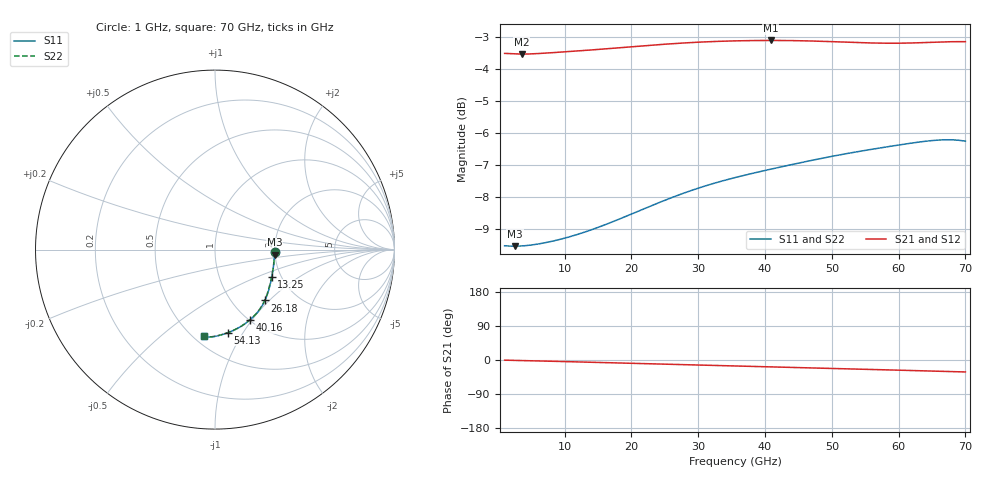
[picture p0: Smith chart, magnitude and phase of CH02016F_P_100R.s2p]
# GHz S RI R 100
! S-Parameters data
! Freq  reS11  imS11  reS21  imS21  reS12  imS12  reS22  imS22
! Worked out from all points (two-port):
!   401 points, 1 GHz to 70 GHz, reference 100 ohm
!   highest |S21| = -3.12 dB at 40.85 GHz (marker M1); lowest = -3.5 dB at 3.587 GHz (marker M2)
!   |S21| within 3 dB of the highest: start of sweep to end of sweep
!   lowest |S11| = -9.6 dB at 2.553 GHz (marker M3), VSWR 2.00, Z = 199 - j12.7 ohm
!   |S11| at or under -10 dB: nowhere
!   |S22| runs from -9.6 to -6.2 dB; largest |S21 - S12| = 0
!   S11 on the Smith chart (normalised r, x): 1 GHz: 2.00, -0.05; 13.25 GHz: 1.79, -0.62; 26.18 GHz: 1.40, -0.94; 40.16 GHz: 1.00, -0.98; 54.13 GHz: 0.73, -0.86; 70 GHz: 0.56, -0.71
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1  0.3333 -0.0117  0.6666 -0.00496  0.6666 -0.00496  0.3333 -0.0116
1.345  0.3329 -0.0153  0.6663 -0.00699  0.6663 -0.00699  0.3329 -0.0152
2.5525  0.3318 -0.0283  0.6651 -0.0128  0.6651 -0.0128  0.3317 -0.028
3.5875  0.3309 -0.0398  0.6646 -0.0172  0.6646 -0.0172  0.3308 -0.0393
7.7275  0.3265 -0.0883  0.6669 -0.0367  0.6669 -0.0367  0.3261 -0.0874
12.5575  0.318 -0.1441  0.6703 -0.0623  0.6703 -0.0623  0.3171 -0.143
13.2475  0.3165 -0.1517  0.6708 -0.066  0.6708 -0.066  0.3156 -0.1507
19.285  0.302 -0.2157  0.6745 -0.0986  0.6745 -0.0986  0.3005 -0.2151
24.115  0.2865 -0.2638  0.6764 -0.1252  0.6764 -0.1252  0.2849 -0.2637
26.185  0.2782 -0.2835  0.6767 -0.1367  0.6767 -0.1367  0.2766 -0.2835
30.67  0.256 -0.3234  0.6756 -0.1614  0.6756 -0.1614  0.2549 -0.3236
35.5  0.2262 -0.3612  0.6716 -0.1876  0.6716 -0.1876  0.2259 -0.3614
40.1575  0.1929 -0.3929  0.6652 -0.2125  0.6652 -0.2125  0.1933 -0.3928
40.8475  0.1877 -0.3973  0.6641 -0.2162  0.6641 -0.2162  0.1881 -0.3971
47.0575  0.1368 -0.4326  0.651 -0.2488  0.651 -0.2488  0.1376 -0.432
50.68  0.1047 -0.4495  0.6416 -0.2671  0.6416 -0.2671  0.1054 -0.4487
54.13  0.0735 -0.4626  0.6322 -0.2837  0.6322 -0.2837  0.074 -0.4618
58.615  0.0338 -0.4756  0.6204 -0.3054  0.6204 -0.3054  0.0339 -0.4747
62.2375  0.00274 -0.4831  0.6117 -0.324  0.6117 -0.324  0.00269 -0.4823
65.3425  -0.0235 -0.4868  0.6044 -0.341  0.6044 -0.341  -0.0236 -0.4861
67.7575  -0.0437 -0.4864  0.5983 -0.3539  0.5983 -0.3539  -0.0437 -0.4859
70  -0.0616 -0.482  0.5924 -0.3641  0.5924 -0.3641  -0.0615 -0.4815
